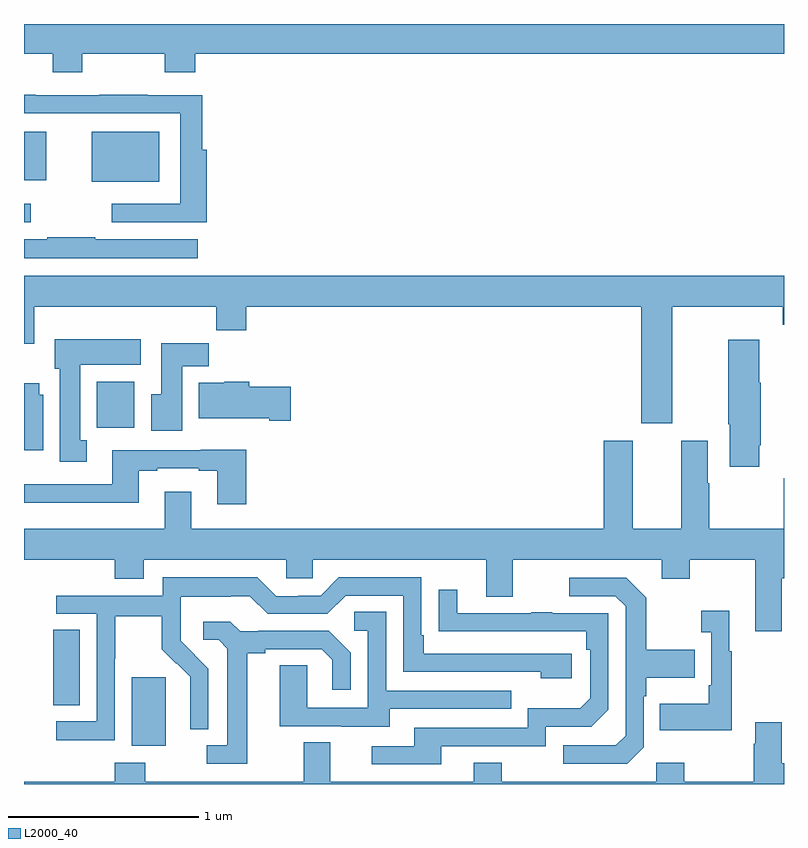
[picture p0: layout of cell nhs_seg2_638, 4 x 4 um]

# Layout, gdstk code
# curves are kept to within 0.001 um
import gdstk
lib = gdstk.Library(unit=1e-6, precision=1e-09)
def R(c, l, rs):  # rectangles x0, y0, x1, y1
    for r in rs: c.add(gdstk.rectangle(r[:2], r[2:], *l))
def P(c, l, *ps):  # polygons
    for p in ps: c.add(gdstk.Polygon(p, *l))
L2000_40 = (2000, 40)

nhs_seg2_638 = lib.new_cell('nhs_seg2_638')
R(nhs_seg2_638, L2000_40, [(143.567,636.002,143.746,636.363), (143.155,636.214,143.293,636.611), (143.384,637.676,143.581,637.918), (143,638.757,143.035,638.853), (143.357,638.969,143.713,639.232), (143,638.978,143.116,639.232)])
P(nhs_seg2_638, L2000_40, [(143.307,639.644),(143.74,639.644),(143.74,639.545),(143.9,639.545),(143.9,639.644),(147,639.644),(147,639.8),(143,639.8),(143,639.644),(143.152,639.644),(143.152,639.545),(143.307,639.545)],
  [(143.963,639.139),(143.939,639.139),(143.939,639.426),(143.651,639.426),(143.651,639.428),(143.395,639.428),(143.395,639.426),(143.063,639.426),(143.063,639.428),(143,639.428),(143,639.33),(143.823,639.33),(143.823,638.853),(143.463,638.853),(143.463,638.757),(143.963,638.757)],
  [(143.914,638.668),(143.375,638.668),(143.375,638.678),(143.122,638.678),(143.122,638.668),(143,638.668),(143,638.567),(143.914,638.567)],
  [(146.413,638.312),(146.993,638.312),(146.993,638.216),(147,638.216),(147,638.476),(143,638.476),(143,638.118),(143.053,638.118),(143.053,638.312),(144.013,638.312),(144.013,638.188),(144.17,638.188),(144.17,638.312),(146.249,638.312),(146.249,637.698),(146.413,637.698)],
  [(143.329,637.61),(143.296,637.61),(143.296,638.006),(143.614,638.006),(143.614,638.14),(143.162,638.14),(143.162,637.986),(143.189,637.986),(143.189,637.497),(143.329,637.497)],
  [(146.869,637.582),(146.877,637.582),(146.877,637.913),(146.869,637.913),(146.869,638.137),(146.707,638.137),(146.707,637.693),(146.714,637.693),(146.714,637.47),(146.869,637.47)],
  [(143.833,638),(143.972,638),(143.972,638.119),(143.723,638.119),(143.723,637.852),(143.669,637.852),(143.669,637.659),(143.833,637.659)],
  [(144.403,637.89),(144.185,637.89),(144.185,637.918),(144.054,637.918),(144.054,637.912),(143.921,637.912),(143.921,637.724),(144.29,637.724),(144.29,637.712),(144.403,637.712)],
  [(143.101,637.848),(143.08,637.848),(143.08,637.909),(143,637.909),(143,637.556),(143.101,637.556)],
  [(143,636.98),(143.477,636.98),(143.477,636.881),(143.629,636.881),(143.629,636.98),(144.381,636.98),(144.381,636.882),(144.519,636.882),(144.519,636.98),(145.433,636.98),(145.433,636.786),(145.573,636.786),(145.573,636.98),(146.357,636.98),(146.357,636.881),(146.505,636.881),(146.505,636.98),(146.849,636.98),(146.849,636.603),(146.989,636.603),(146.989,636.884),(147,636.884),(147,637.409),(146.998,637.409),(146.998,637.144),(146.607,637.144),(146.607,637.382),(146.599,637.382),(146.599,637.606),(146.459,637.606),(146.459,637.144),(146.203,637.144),(146.203,637.606),(146.051,637.606),(146.051,637.144),(143.881,637.144),(143.881,637.339),(143.741,637.339),(143.741,637.144),(143,637.144)],
  [(144.17,637.558),(143.929,637.558),(143.929,637.557),(143.465,637.557),(143.465,637.377),(143,637.377),(143,637.28),(143.605,637.28),(143.605,637.449),(143.701,637.449),(143.701,637.461),(143.921,637.461),(143.921,637.449),(144.017,637.449),(144.017,637.272),(144.17,637.272)],
  [(143.478,636.46),(143.481,636.46),(143.481,636.684),(143.725,636.684),(143.725,636.509),(143.802,636.432),(143.805,636.435),(143.876,636.365),(143.876,636.242),(143.874,636.242),(143.874,636.088),(143.97,636.088),(143.97,636.406),(143.824,636.554),(143.824,636.651),(143.826,636.651),(143.826,636.785),(144.089,636.785),(144.089,636.789),(144.189,636.789),(144.282,636.696),(144.597,636.696),(144.693,636.792),(144.996,636.792),(144.996,636.39),(145.721,636.39),(145.721,636.356),(145.882,636.356),(145.882,636.486),(145.105,636.486),(145.105,636.583),(145.092,636.583),(145.092,636.888),(144.657,636.888),(144.561,636.792),(144.443,636.792),(144.443,636.789),(144.327,636.789),(144.227,636.889),(143.73,636.889),(143.73,636.792),(143.169,636.792),(143.169,636.696),(143.382,636.696),(143.382,636.129),(143.169,636.129),(143.169,636.031),(143.478,636.031)],
  [(146.262,635.994),(146.262,636.263),(146.275,636.263),(146.275,636.359),(146.531,636.359),(146.531,636.507),(146.275,636.507),(146.275,636.779),(146.169,636.885),(145.869,636.885),(145.869,636.789),(146.112,636.789),(146.166,636.735),(146.166,636.054),(146.115,636.003),(145.839,636.003),(145.839,635.907),(146.175,635.907)],
  [(145.195,636),(145.746,636),(145.746,636.102),(145.986,636.102),(146.076,636.192),(146.076,636.699),(145.781,636.699),(145.781,636.704),(145.669,636.704),(145.669,636.699),(145.279,636.699),(145.279,636.823),(145.183,636.823),(145.183,636.604),(145.96,636.603),(145.96,636.506),(145.98,636.506),(145.98,636.252),(145.927,636.199),(145.65,636.199),(145.65,636.096),(145.055,636.096),(145.055,636),(144.831,636),(144.831,635.904),(145.195,635.904)],
  [(146.725,636.499),(146.713,636.499),(146.713,636.712),(146.565,636.712),(146.565,636.599),(146.616,636.599),(146.616,636.319),(146.604,636.319),(146.604,636.223),(146.347,636.223),(146.347,636.083),(146.725,636.083)],
  [(144.925,636.195),(145.565,636.195),(145.565,636.291),(144.906,636.291),(144.906,636.707),(144.738,636.707),(144.738,636.606),(144.81,636.606),(144.81,636.201),(144.492,636.201),(144.492,636.425),(144.347,636.425),(144.347,636.105),(144.671,636.105),(144.671,636.101),(144.925,636.101)],
  [(144.175,636.488),(144.271,636.488),(144.271,636.51),(144.566,636.51),(144.623,636.453),(144.623,636.297),(144.72,636.297),(144.72,636.49),(144.604,636.606),(144.232,636.606),(144.232,636.603),(144.138,636.603),(144.086,636.655),(143.943,636.655),(143.943,636.558),(144.024,636.558),(144.071,636.511),(144.071,636.003),(143.961,636.003),(143.961,635.907),(144.175,635.907)],
  [(147,635.908),(146.989,635.908),(146.989,636.124),(146.849,636.124),(146.849,636.011),(146.842,636.011),(146.842,635.812),(146.475,635.812),(146.475,635.911),(146.328,635.911),(146.328,635.812),(145.515,635.812),(145.515,635.911),(145.367,635.911),(145.367,635.812),(144.613,635.812),(144.613,636.02),(144.473,636.02),(144.473,635.812),(143.637,635.812),(143.637,635.911),(143.477,635.911),(143.477,635.812),(143,635.812),(143,635.8),(147,635.8)])

lib.write_gds('nhs_seg2_638.gds')
